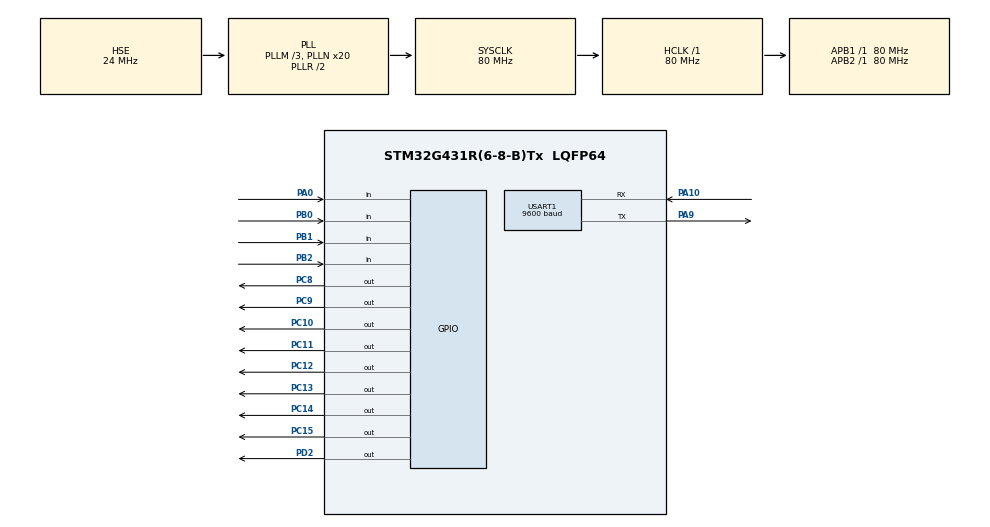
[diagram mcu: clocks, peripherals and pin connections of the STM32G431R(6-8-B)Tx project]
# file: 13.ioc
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Mcu.Family=STM32G4
Mcu.Name=STM32G431R(6-8-B)Tx
Mcu.Package=LQFP64
NVIC.PriorityGroup=NVIC_PRIORITYGROUP_4
NVIC.TIM2_IRQn=true\:0\:0\:false\:false\:true\:true\:true
NVIC.TIM3_IRQn=true\:0\:0\:false\:false\:true\:true\:true
NVIC.TIM4_IRQn=true\:0\:0\:false\:false\:true\:true\:true
NVIC.USART1_IRQn=true\:0\:0\:false\:false\:true\:true\:true
PA0.GPIO_PuPd=GPIO_PULLUP
PA0.Signal=GPIO_Input
PA10.Mode=Asynchronous
PA10.Signal=USART1_RX
PA13.Mode=Serial_Wire
PA13.Signal=SYS_JTMS-SWDIO
PA14.Mode=Serial_Wire
PA14.Signal=SYS_JTCK-SWCLK
PA9.Mode=Asynchronous
PA9.Signal=USART1_TX
PB0.GPIO_PuPd=GPIO_PULLUP
PB0.Signal=GPIO_Input
PB1.GPIO_PuPd=GPIO_PULLUP
PB1.Signal=GPIO_Input
PB2.GPIO_PuPd=GPIO_PULLUP
PB2.Signal=GPIO_Input
PC10.PinState=GPIO_PIN_SET
PC10.Signal=GPIO_Output
PC11.PinState=GPIO_PIN_SET
PC11.Signal=GPIO_Output
PC12.PinState=GPIO_PIN_SET
PC12.Signal=GPIO_Output
PC13.PinState=GPIO_PIN_SET
PC13.Signal=GPIO_Output
PC14-OSC32_IN.PinState=GPIO_PIN_SET
PC14-OSC32_IN.Signal=GPIO_Output
PC15-OSC32_OUT.PinState=GPIO_PIN_SET
PC15-OSC32_OUT.Signal=GPIO_Output
PC8.PinState=GPIO_PIN_SET
PC8.Signal=GPIO_Output
PC9.PinState=GPIO_PIN_SET
PC9.Signal=GPIO_Output
PD2.Signal=GPIO_Output
PF0-OSC_IN.Mode=HSE-External-Oscillator
PF0-OSC_IN.Signal=RCC_OSC_IN
PF1-OSC_OUT.Mode=HSE-External-Oscillator
PF1-OSC_OUT.Signal=RCC_OSC_OUT
ProjectManager.HeapSize=0x200
ProjectManager.StackSize=0x400
ProjectManager.TargetToolchain=MDK-ARM V5
RCC.ADC12Freq_Value=80000000
RCC.AHBFreq_Value=80000000
RCC.APB1Freq_Value=80000000
RCC.APB1TimFreq_Value=80000000
RCC.APB2Freq_Value=80000000
RCC.APB2TimFreq_Value=80000000
RCC.CortexFreq_Value=80000000
RCC.EXTERNAL_CLOCK_VALUE=12288000
RCC.HCLKFreq_Value=80000000
RCC.HSE_VALUE=24000000
RCC.HSI48_VALUE=48000000
RCC.HSI_VALUE=16000000
RCC.LSE_VALUE=32768
RCC.PLLM=RCC_PLLM_DIV3
RCC.PLLN=20
RCC.PLLSourceVirtual=RCC_PLLSOURCE_HSE
RCC.SYSCLKFreq_VALUE=80000000
RCC.SYSCLKSource=RCC_SYSCLKSOURCE_PLLCLK
RCC.USBFreq_Value=80000000
RCC.VCOOutputFreq_Value=160000000
TIM2.PeriodNoDither=10000-1
TIM2.Prescaler=800-1
TIM3.PeriodNoDither=50000-1
TIM3.Prescaler=8000-1
TIM4.PeriodNoDither=10000-1
TIM4.Prescaler=800-1
USART1.BaudRate=9600
USART1.VirtualMode-Asynchronous=VM_ASYNC
USART1.WordLength=WORDLENGTH_8B
VP_SYS_VS_DBSignals.Mode=DisableDeadBatterySignals
VP_TIM2_VS_ClockSourceINT.Mode=Internal
VP_TIM3_VS_ClockSourceINT.Mode=Internal
VP_TIM4_VS_ClockSourceINT.Mode=Internal
board=custom

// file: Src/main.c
/* USER CODE BEGIN Header */
/**
  ******************************************************************************
  * @file           : main.c
  * @brief          : Main program body
  ******************************************************************************
  * @attention
  *
  * <h2><center>&copy; Copyright (c) 2024 STMicroelectronics.
  * All rights reserved.</center></h2>
  *
  * This software component is licensed by ST under BSD 3-Clause license,
  * the "License"; You may not use this file except in compliance with the
  * License. You may obtain a copy of the License at:
  *                        opensource.org/licenses/BSD-3-Clause
  *
  ******************************************************************************
  */
/* USER CODE END Header */

#include "main.h"
#include "tim.h"
#include "usart.h"
#include "gpio.h"

/* USER CODE BEGIN Includes */
#include "key.h"
#include "led.h"
#include "lcd.h"
#include "stdio.h"
#include "myfile.h"
/* USER CODE END Includes */

/* USER CODE BEGIN PV */

//指明当前要变化的LED，初始化为0
// led=1 LED1变化		led=2 LED2变化
uint8_t led=0;

//定义保存三位密码的变量
int8_t code_1=-1;
int8_t code_2=-1;
int8_t code_3=-1;

//初始密码
int8_t origin_code=123;

//记录当前界面的变量
// 0--密码输入界面  1--输出状态界面
//初始化为密码输入界面
uint8_t menu=0;

//记录当前频率，占空比
uint8_t freq=0,duty=0;

//记录密码输入的是否正确  0--初始设置/重新进入密码输入界面  1--密码输入正确  -1 --密码输入错误
int8_t code_correct=0;
//记录密码连续输入错误的次数
int8_t error_counts=0;

uint8_t counts=0;

//串口接收缓冲
char Rxbuff[8];

//当前接收的内容的下标
uint8_t Rxdat=0;
uint8_t BufIndex=0;

/* USER CODE END PV */

void SystemClock_Config(void);

int main(void)
{

  /* MCU Configuration--------------------------------------------------------*/

  /* Reset of all peripherals, Initializes the Flash interface and the Systick. */
  HAL_Init();

  /* Configure the system clock */
  SystemClock_Config();

  /* Initialize all configured peripherals */
  MX_GPIO_Init();
  MX_TIM4_Init();
  MX_USART1_UART_Init();
  MX_TIM3_Init();
  MX_TIM2_Init();
  /* USER CODE BEGIN 2 */

	//初始化
	sys_Init();
  /* USER CODE END 2 */

  /* Infinite loop */
  while (1)
  {

    /* USER CODE BEGIN 3 */
		sys_work();

  }
  /* USER CODE END 3 */
}

void SystemClock_Config(void)
{
  RCC_OscInitTypeDef RCC_OscInitStruct = {0};
  RCC_ClkInitTypeDef RCC_ClkInitStruct = {0};
  RCC_PeriphCLKInitTypeDef PeriphClkInit = {0};

  /** Configure the main internal regulator output voltage
  */
  HAL_PWREx_ControlVoltageScaling(PWR_REGULATOR_VOLTAGE_SCALE1);
  /** Initializes the CPU, AHB and APB busses clocks
  */
  RCC_OscInitStruct.OscillatorType = RCC_OSCILLATORTYPE_HSE;
  RCC_OscInitStruct.HSEState = RCC_HSE_ON;
  RCC_OscInitStruct.PLL.PLLState = RCC_PLL_ON;
  RCC_OscInitStruct.PLL.PLLSource = RCC_PLLSOURCE_HSE;
  RCC_OscInitStruct.PLL.PLLM = RCC_PLLM_DIV3;
  RCC_OscInitStruct.PLL.PLLN = 20;
  RCC_OscInitStruct.PLL.PLLP = RCC_PLLP_DIV2;
  RCC_OscInitStruct.PLL.PLLQ = RCC_PLLQ_DIV2;
  RCC_OscInitStruct.PLL.PLLR = RCC_PLLR_DIV2;
  if (HAL_RCC_OscConfig(&RCC_OscInitStruct) != HAL_OK)
  {
    Error_Handler();
  }
  /** Initializes the CPU, AHB and APB busses clocks
  */
  RCC_ClkInitStruct.ClockType = RCC_CLOCKTYPE_HCLK|RCC_CLOCKTYPE_SYSCLK
                              |RCC_CLOCKTYPE_PCLK1|RCC_CLOCKTYPE_PCLK2;
  RCC_ClkInitStruct.SYSCLKSource = RCC_SYSCLKSOURCE_PLLCLK;
  RCC_ClkInitStruct.AHBCLKDivider = RCC_SYSCLK_DIV1;
  RCC_ClkInitStruct.APB1CLKDivider = RCC_HCLK_DIV1;
  RCC_ClkInitStruct.APB2CLKDivider = RCC_HCLK_DIV1;

  if (HAL_RCC_ClockConfig(&RCC_ClkInitStruct, FLASH_LATENCY_3) != HAL_OK)
  {
    Error_Handler();
  }
  /** Initializes the peripherals clocks
  */
  PeriphClkInit.PeriphClockSelection = RCC_PERIPHCLK_USART1;
  PeriphClkInit.Usart1ClockSelection = RCC_USART1CLKSOURCE_PCLK2;
  if (HAL_RCCEx_PeriphCLKConfig(&PeriphClkInit) != HAL_OK)
  {
    Error_Handler();
  }
}

void Error_Handler(void)
{
}

/************************ (C) COPYRIGHT STMicroelectronics *****END OF FILE****/
